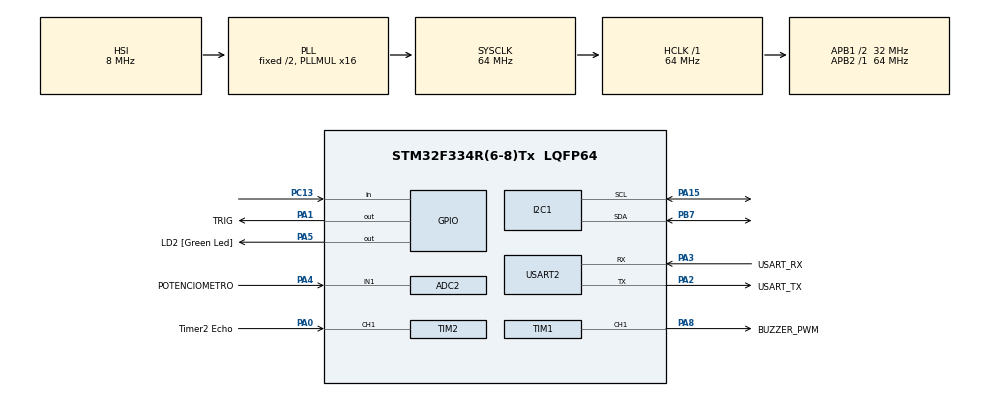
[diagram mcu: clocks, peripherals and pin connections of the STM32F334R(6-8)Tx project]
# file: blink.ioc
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ADC2.Channel-0\#ChannelRegularConversion=ADC_CHANNEL_1
ADC2.NbrOfConversionFlag=1
ADC2.Offset-0\#ChannelRegularConversion=0
ADC2.OffsetNumber-0\#ChannelRegularConversion=ADC_OFFSET_NONE
ADC2.Rank-0\#ChannelRegularConversion=1
ADC2.SamplingTime-0\#ChannelRegularConversion=ADC_SAMPLETIME_1CYCLE_5
I2C1.Timing=0x00201D2B
Mcu.Family=STM32F3
Mcu.Name=STM32F334R(6-8)Tx
Mcu.Package=LQFP64
NVIC.PriorityGroup=NVIC_PRIORITYGROUP_0
PA0.GPIO_Label=Timer2 Echo
PA0.Signal=S_TIM2_CH1_ETR
PA1.GPIO_Label=TRIG
PA1.Signal=GPIO_Output
PA13.GPIO_Label=TMS
PA13.Mode=Serial_Wire
PA13.Signal=SYS_JTMS-SWDIO
PA14.GPIO_Label=TCK
PA14.Mode=Serial_Wire
PA14.Signal=SYS_JTCK-SWCLK
PA15.Mode=I2C
PA15.Signal=I2C1_SCL
PA2.GPIO_Label=USART_TX
PA2.Mode=Asynchronous
PA2.Signal=USART2_TX
PA3.GPIO_Label=USART_RX
PA3.Mode=Asynchronous
PA3.Signal=USART2_RX
PA4.GPIO_Label=POTENCIOMETRO
PA4.Mode=IN1-Single-Ended
PA4.Signal=ADC2_IN1
PA5.GPIO_Label=LD2 [Green Led]
PA5.Signal=GPIO_Output
PA8.GPIO_Label=BUZZER_PWM
PA8.Signal=S_TIM1_CH1
PB3.GPIO_Label=SWO
PB3.Signal=SYS_JTDO-TRACESWO
PB7.Mode=I2C
PB7.Signal=I2C1_SDA
PC13.GPIO_PuPd=GPIO_PULLUP
PC13.Signal=GPIO_Input
PC14\ /\ OSC32_IN.Mode=LSE-External-Oscillator
PC14\ /\ OSC32_IN.Signal=RCC_OSC32_IN
PC15\ /\ OSC32_OUT.GPIO_Label=RCC_OSC32_OUT
PC15\ /\ OSC32_OUT.Mode=LSE-External-Oscillator
PC15\ /\ OSC32_OUT.Signal=RCC_OSC32_OUT
PF0\ /\ OSC_IN.Mode=HSE-External-Clock-Source
PF0\ /\ OSC_IN.Signal=RCC_OSC_IN
PF1\ /\ OSC_OUT.Signal=RCC_OSC_OUT
ProjectManager.HeapSize=0x200
ProjectManager.StackSize=0x400
ProjectManager.TargetToolchain=STM32CubeIDE
RCC.AHBFreq_Value=64000000
RCC.APB1CLKDivider=RCC_HCLK_DIV2
RCC.APB1Freq_Value=32000000
RCC.APB1TimFreq_Value=64000000
RCC.APB2Freq_Value=64000000
RCC.APB2TimFreq_Value=64000000
RCC.CortexFreq_Value=64000000
RCC.FLatency-AdvancedSettings=FLASH_LATENCY_2
RCC.HCLKFreq_Value=64000000
RCC.HSE_VALUE=8000000
RCC.HSI_VALUE=8000000
RCC.PLLMUL=RCC_PLL_MUL16
RCC.SYSCLKFreq_VALUE=64000000
RCC.SYSCLKSourceVirtual=RCC_SYSCLKSOURCE_PLLCLK
SH.S_TIM1_CH1.0=TIM1_CH1,PWM Generation1 CH1
SH.S_TIM2_CH1_ETR.0=TIM2_CH1,Input_Capture1_from_TI1
TIM1.Channel-PWM\ Generation1\ CH1=TIM_CHANNEL_1
TIM1.Period=999
TIM1.Prescaler=71
TIM2.Channel-Input_Capture1_from_TI1=TIM_CHANNEL_1
TIM2.Prescaler=71
USART2.VirtualMode-Asynchronous=VM_ASYNC
VP_TIM1_VS_ClockSourceINT.Mode=Internal
board=NUCLEO-F334R8

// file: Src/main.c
/* USER CODE BEGIN Header */
/**
  ******************************************************************************
  * @file           : main.c
  * @brief          : Main program body
  ******************************************************************************
  * @attention
  *
  * Copyright (c) 2026 STMicroelectronics.
  * All rights reserved.
  *
  * This software is licensed under terms that can be found in the LICENSE file
  * in the root directory of this software component.
  * If no LICENSE file comes with this software, it is provided AS-IS.
  *
  ******************************************************************************
  */
/* USER CODE END Header */
#include "main.h"
#include "adc.h"
#include "i2c.h"
#include "tim.h"
#include "usart.h"
#include "gpio.h"

/* USER CODE BEGIN Includes */
#include "hcsr04.h"
#include "adxl345.h"
/* USER CODE END Includes */

/* USER CODE BEGIN PTD */
typedef enum {
    ESTADO_IDLE,
    ESTADO_DISPARA_SONAR,
    ESTADO_CALCULA_SONAR,
    ESTADO_LEITURA_ADC,
    ESTADO_LEITURA_ACELEROMETRO, // <-- NOVO ESTADO
    ESTADO_ATUALIZA_ALARME
} FSM_Estado_t;

FSM_Estado_t estadoAtual = ESTADO_IDLE;
/* USER CODE END PTD */

/* USER CODE BEGIN PV */
HCSR04_Config_t meuSonar;
ADXL345_Config_t meuAcelerometro;
uint32_t tempoUltimaLeitura = 0;
uint32_t tempoUltimoBeep = 0;
uint32_t intervaloBeep = 0;

uint16_t valorADC = 0;
uint16_t volumeBuzzer = 0;
uint8_t estadoBuzzer = 0;
/* USER CODE END PV */

void SystemClock_Config(void);

int main(void)
{

  /* MCU Configuration--------------------------------------------------------*/

  /* Reset of all peripherals, Initializes the Flash interface and the Systick. */
  HAL_Init();

  /* Configure the system clock */
  SystemClock_Config();

  /* Initialize all configured peripherals */
  MX_GPIO_Init();
  MX_USART2_UART_Init();
  MX_TIM2_Init();
  MX_ADC2_Init();
  MX_TIM1_Init();
  MX_I2C1_Init();
  /* USER CODE BEGIN 2 */
    HCSR04_Init(&meuSonar, &htim2, TIM_CHANNEL_1);

    // Inicia o ADXL345. Se retornar 0, ocorreu um erro no I2C ou fios invertidos.
    ADXL345_Init(&meuAcelerometro, &hi2c1);

    HAL_TIM_PWM_Start(&htim1, TIM_CHANNEL_1);
    /* USER CODE END 2 */

  /* Infinite loop */
  /* USER CODE BEGIN WHILE */
      while (1)
      {
    	  // A MÁQUINA DE ESTADOS PRINCIPAL
    	        switch (estadoAtual) {

    	            case ESTADO_IDLE:
    	                if (HAL_GetTick() - tempoUltimaLeitura >= 100) {
    	                    tempoUltimaLeitura = HAL_GetTick();
    	                    estadoAtual = ESTADO_DISPARA_SONAR;
    	                }
    	                break;

    	            case ESTADO_DISPARA_SONAR:
    	                HCSR04_Trigger();
    	                estadoAtual = ESTADO_CALCULA_SONAR;
    	                break;

    	            case ESTADO_CALCULA_SONAR:
    	                if (!HCSR04_Read(&meuSonar)) {
    	                    meuSonar.distancia_cm = -1;
    	                }
    	                estadoAtual = ESTADO_LEITURA_ADC;
    	                break;

    	            case ESTADO_LEITURA_ADC:
    	                HAL_ADC_Start(&hadc2);
    	                HAL_ADC_PollForConversion(&hadc2, HAL_MAX_DELAY);
    	                valorADC = HAL_ADC_GetValue(&hadc2);
    	                volumeBuzzer = (valorADC * 999) / 4095;

    	                estadoAtual = ESTADO_LEITURA_ACELEROMETRO; // Aponta para o novo estado
    	                break;

    	            case ESTADO_LEITURA_ACELEROMETRO:
    	                // Lê os eixos X, Y e Z e calcula os ângulos automaticamente
    	                ADXL345_Read(&meuAcelerometro);

    	                estadoAtual = ESTADO_ATUALIZA_ALARME;
    	                break;

    	            case ESTADO_ATUALIZA_ALARME:
    	                if (meuSonar.distancia_cm > 60.0 || meuSonar.distancia_cm < 0) {
    	                    intervaloBeep = 0;
    	                } else if (meuSonar.distancia_cm <= 10.0) {
    	                    intervaloBeep = 1;
    	                } else {
    	                    intervaloBeep = (uint32_t)(meuSonar.distancia_cm * 10);
    	                }
    	                estadoAtual = ESTADO_IDLE;
    	                break;
    	        }

          // ==========================================
          // LÓGICA DE EXECUÇÃO DO BIPE COM CONTROLE DE VOLUME (PWM)
          // ==========================================
          if (intervaloBeep > 1) {
              // Zona de bipe intermitente
              if ((HAL_GetTick() - tempoUltimoBeep) >= intervaloBeep) {
                  tempoUltimoBeep = HAL_GetTick();
                  estadoBuzzer = !estadoBuzzer; // Inverte o estado atual do bipe

                  if (estadoBuzzer) {
                      // LIGA o buzzer com a potência definida pelo potenciômetro
                      __HAL_TIM_SET_COMPARE(&htim1, TIM_CHANNEL_1, volumeBuzzer);
                  } else {
                      // DESLIGA o buzzer (potência zero)
                      __HAL_TIM_SET_COMPARE(&htim1, TIM_CHANNEL_1, 0);
                  }
              }
          } else if (intervaloBeep == 1) {
              // Zona de perigo: Bipe contínuo ligado no volume do potenciômetro
              __HAL_TIM_SET_COMPARE(&htim1, TIM_CHANNEL_1, volumeBuzzer);
          } else {
              // Longe: Desligado
              __HAL_TIM_SET_COMPARE(&htim1, TIM_CHANNEL_1, 0);
          }

    /* USER CODE END WHILE */

  }
}

void SystemClock_Config(void)
{
  RCC_OscInitTypeDef RCC_OscInitStruct = {0};
  RCC_ClkInitTypeDef RCC_ClkInitStruct = {0};
  RCC_PeriphCLKInitTypeDef PeriphClkInit = {0};

  /** Initializes the RCC Oscillators according to the specified parameters
  * in the RCC_OscInitTypeDef structure.
  */
  RCC_OscInitStruct.OscillatorType = RCC_OSCILLATORTYPE_HSI;
  RCC_OscInitStruct.HSIState = RCC_HSI_ON;
  RCC_OscInitStruct.HSICalibrationValue = RCC_HSICALIBRATION_DEFAULT;
  RCC_OscInitStruct.PLL.PLLState = RCC_PLL_ON;
  RCC_OscInitStruct.PLL.PLLSource = RCC_PLLSOURCE_HSI;
  RCC_OscInitStruct.PLL.PLLMUL = RCC_PLL_MUL16;
  if (HAL_RCC_OscConfig(&RCC_OscInitStruct) != HAL_OK)
  {
    Error_Handler();
  }

  /** Initializes the CPU, AHB and APB buses clocks
  */
  RCC_ClkInitStruct.ClockType = RCC_CLOCKTYPE_HCLK|RCC_CLOCKTYPE_SYSCLK
                              |RCC_CLOCKTYPE_PCLK1|RCC_CLOCKTYPE_PCLK2;
  RCC_ClkInitStruct.SYSCLKSource = RCC_SYSCLKSOURCE_PLLCLK;
  RCC_ClkInitStruct.AHBCLKDivider = RCC_SYSCLK_DIV1;
  RCC_ClkInitStruct.APB1CLKDivider = RCC_HCLK_DIV2;
  RCC_ClkInitStruct.APB2CLKDivider = RCC_HCLK_DIV1;

  if (HAL_RCC_ClockConfig(&RCC_ClkInitStruct, FLASH_LATENCY_2) != HAL_OK)
  {
    Error_Handler();
  }
  PeriphClkInit.PeriphClockSelection = RCC_PERIPHCLK_I2C1|RCC_PERIPHCLK_TIM1
                              |RCC_PERIPHCLK_ADC12;
  PeriphClkInit.Adc12ClockSelection = RCC_ADC12PLLCLK_DIV1;
  PeriphClkInit.I2c1ClockSelection = RCC_I2C1CLKSOURCE_HSI;
  PeriphClkInit.Tim1ClockSelection = RCC_TIM1CLK_HCLK;
  if (HAL_RCCEx_PeriphCLKConfig(&PeriphClkInit) != HAL_OK)
  {
    Error_Handler();
  }
}

void Error_Handler(void)
{
  __disable_irq();
  while (1)
  {
  }
}
